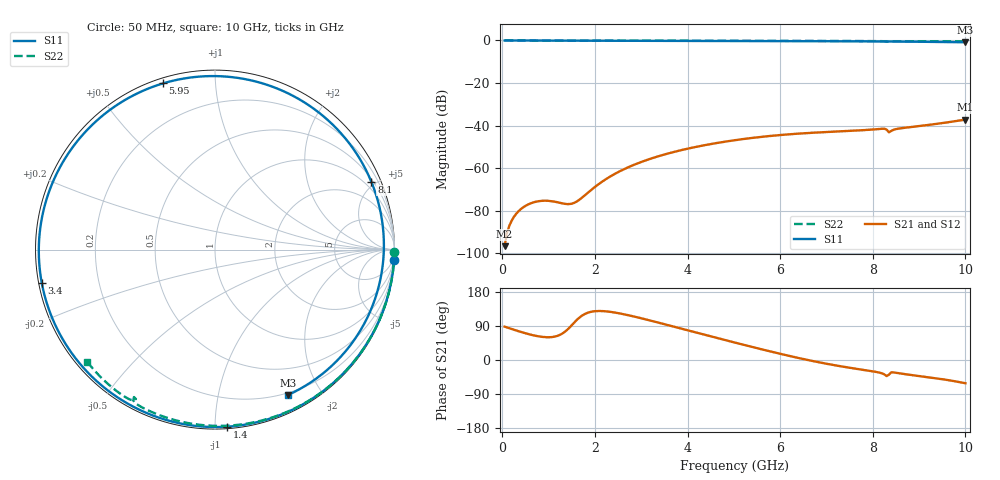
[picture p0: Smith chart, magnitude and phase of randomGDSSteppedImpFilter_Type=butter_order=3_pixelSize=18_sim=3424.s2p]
! freq	dB(S11)	phase(S11)	dB(S12)	phase(S12)
!  dB(S21)	phase(S21)	dB(S22)	phase(S22)
!S-par simulation data
#  GHz  S  DB  R 50
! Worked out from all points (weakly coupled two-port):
!   200 points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, 50 MHz to 10 GHz, reference 50 ohm
!   highest |S21| = -37.18 dB at 10 GHz (marker M1); lowest = -96.6 dB at 50 MHz (marker M2)
!   lowest |S11| = -0.9 dB at 10 GHz (marker M3), VSWR 20.33, Z = 8.86 - j80.3 ohm
!   |S11| at or under -10 dB: nowhere
!   |S22| runs from -0.6 to 0.0 dB; largest |S21 - S12| = 0
!   S11 on the Smith chart (normalised r, x): 50 MHz: 0, -34; 1.4 GHz: 0.01, -1.07; 3.4 GHz: 0.01, -0.10; 5.95 GHz: 0.02, +0.73; 8.1 GHz: 0.62, +4.76; 10 GHz: 0.18, -1.61
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0.05  -0.00 -3.4  -96.59 88.0  -96.59 88.0  -0.00 -0.8
0.35  -0.03 -23.4  -80.21 76.0  -80.21 76.0  -0.01 -5.6
0.75  -0.06 -49.0  -75.61 63.2  -75.61 63.2  -0.02 -12.0
1.05  -0.08 -66.9  -75.42 60.3  -75.42 60.3  -0.02 -16.7
1.4  -0.10 -86.1  -76.83 79.5  -76.83 79.5  -0.03 -22.2
1.55  -0.10 -93.9  -76.27 98.4  -76.27 98.4  -0.03 -24.6
1.75  -0.11 -103.7  -73.31 119.3  -73.31 119.3  -0.04 -27.7
2.15  -0.12 -121.7  -66.39 129.2  -66.39 129.2  -0.04 -33.8
2.55  -0.13 -138.1  -61.28 122.6  -61.28 122.6  -0.05 -39.9
3.4  -0.15 -169.0  -54.18 97.7  -54.18 97.7  -0.07 -52.6
4.2  -0.18 164.7  -49.90 72.1  -49.90 72.1  -0.09 -64.2
5.05  -0.21 137.4  -46.75 45.1  -46.75 45.1  -0.12 -76.1
5.95  -0.26 107.4  -44.51 17.8  -44.51 17.8  -0.15 -88.2
6.7  -0.31 80.3  -43.34 -2.6  -43.34 -2.6  -0.19 -98.0
7.4  -0.37 52.9  -42.57 -18.5  -42.57 -18.5  -0.23 -107.0
8.1  -0.45 23.4  -41.65 -32.1  -41.65 -32.1  -0.29 -116.0
8.25  -0.47 16.8  -41.44 -38.1  -41.44 -38.1  -0.39 -118.5
8.35  -0.49 12.3  -43.11 -38.6  -43.11 -38.6  -0.52 -117.9
8.75  -0.55 -5.7  -40.85 -38.2  -40.85 -38.2  -0.35 -123.3
9.15  -0.63 -24.0  -39.82 -44.6  -39.82 -44.6  -0.38 -128.3
9.6  -0.74 -44.9  -38.49 -52.5  -38.49 -52.5  -0.43 -133.8
10  -0.86 -63.4  -37.18 -61.4  -37.18 -61.4  -0.47 -138.7
